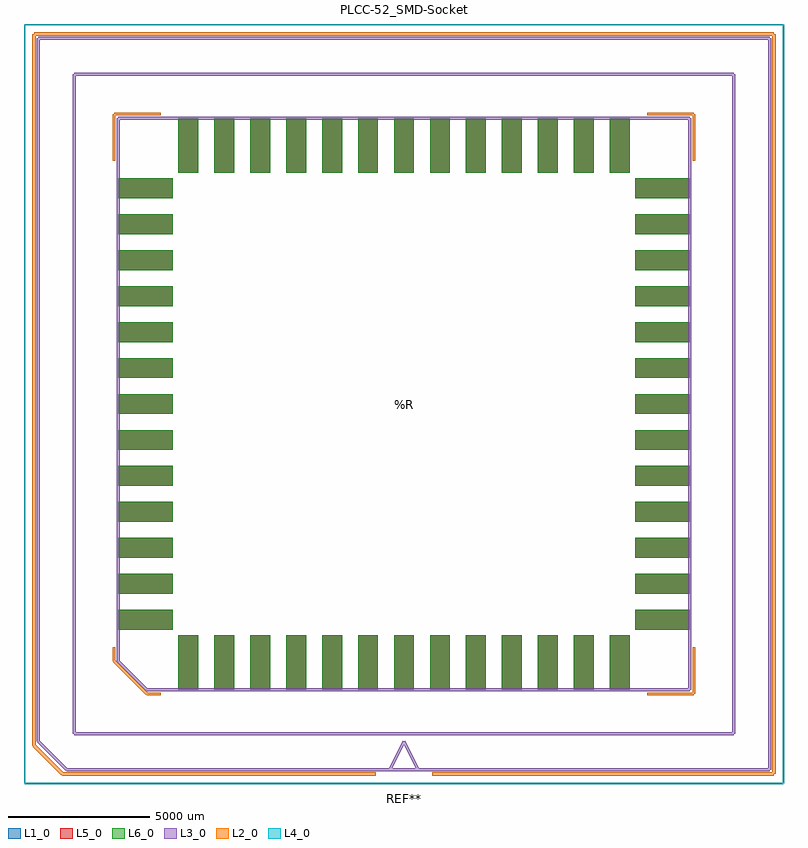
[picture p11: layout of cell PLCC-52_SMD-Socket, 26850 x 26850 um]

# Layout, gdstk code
import gdstk
lib = gdstk.Library(unit=1e-6, precision=1e-09)
def R(c, l, rs):  # rectangles x0, y0, x1, y1
    for r in rs: c.add(gdstk.rectangle(r[:2], r[2:], *l))
def A(c, l, x, y, w, h, nx, ny, dx, dy):  # array of equal rectangles
    R(c, l, [(x+i*dx, y+j*dy, x+i*dx+w, y+j*dy+h) for i in range(nx) for j in range(ny)])
L1_0 = (1, 0)
L2_0 = (2, 0)
L3_0 = (3, 0)
L4_0 = (4, 0)
L5_0 = (5, 0)
L6_0 = (6, 0)

plcc_52_smd_socket = lib.new_cell('PLCC-52_SMD-Socket')
A(plcc_52_smd_socket, L1_0, -7970, -10095, 700, 1925, 13, 2, 1270, 18265)
A(plcc_52_smd_socket, L1_0, -10095, -7970, 1925, 700, 1, 13, 0, 1270)
A(plcc_52_smd_socket, L1_0, 8170, -7970, 1925, 700, 1, 13, 0, 1270)
A(plcc_52_smd_socket, L5_0, -7970, -10095, 700, 1925, 13, 2, 1270, 18265)
A(plcc_52_smd_socket, L5_0, -10095, -7970, 1925, 700, 1, 13, 0, 1270)
A(plcc_52_smd_socket, L5_0, 8170, -7970, 1925, 700, 1, 13, 0, 1270)
A(plcc_52_smd_socket, L6_0, -7970, -10095, 700, 1925, 13, 2, 1270, 18265)
A(plcc_52_smd_socket, L6_0, -10095, -7970, 1925, 700, 1, 13, 0, 1270)
A(plcc_52_smd_socket, L6_0, 8170, -7970, 1925, 700, 1, 13, 0, 1270)
plcc_52_smd_socket.add(gdstk.FlexPath([(-11920,-12920),(-12920,-11920)], 100, ends="flush", simple_path=True, layer=3, datatype=0))  # L3_0
plcc_52_smd_socket.add(gdstk.FlexPath([(-12920,-11920),(-12920,12920)], 100, ends="flush", simple_path=True, layer=3, datatype=0))  # L3_0
plcc_52_smd_socket.add(gdstk.FlexPath([(-12920,12920),(12920,12920)], 100, ends="flush", simple_path=True, layer=3, datatype=0))  # L3_0
plcc_52_smd_socket.add(gdstk.FlexPath([(12920,12920),(12920,-12920)], 100, ends="flush", simple_path=True, layer=3, datatype=0))  # L3_0
plcc_52_smd_socket.add(gdstk.FlexPath([(12920,-12920),(-11920,-12920)], 100, ends="flush", simple_path=True, layer=3, datatype=0))  # L3_0
plcc_52_smd_socket.add(gdstk.FlexPath([(-13400,-13400),(-13400,13400)], 50, ends="flush", simple_path=True, layer=4, datatype=0))  # L4_0
plcc_52_smd_socket.add(gdstk.FlexPath([(-13400,13400),(13400,13400)], 50, ends="flush", simple_path=True, layer=4, datatype=0))  # L4_0
plcc_52_smd_socket.add(gdstk.FlexPath([(13400,13400),(13400,-13400)], 50, ends="flush", simple_path=True, layer=4, datatype=0))  # L4_0
plcc_52_smd_socket.add(gdstk.FlexPath([(13400,-13400),(-13400,-13400)], 50, ends="flush", simple_path=True, layer=4, datatype=0))  # L4_0
plcc_52_smd_socket.add(gdstk.FlexPath([(-9095,-10095),(-10095,-9095)], 100, ends="flush", simple_path=True, layer=3, datatype=0))  # L3_0
plcc_52_smd_socket.add(gdstk.FlexPath([(-10095,-9095),(-10095,10095)], 100, ends="flush", simple_path=True, layer=3, datatype=0))  # L3_0
plcc_52_smd_socket.add(gdstk.FlexPath([(-10095,10095),(10095,10095)], 100, ends="flush", simple_path=True, layer=3, datatype=0))  # L3_0
plcc_52_smd_socket.add(gdstk.FlexPath([(10095,10095),(10095,-10095)], 100, ends="flush", simple_path=True, layer=3, datatype=0))  # L3_0
plcc_52_smd_socket.add(gdstk.FlexPath([(10095,-10095),(-9095,-10095)], 100, ends="flush", simple_path=True, layer=3, datatype=0))  # L3_0
plcc_52_smd_socket.add(gdstk.FlexPath([(-11650,-11650),(-11650,11650)], 100, ends="flush", simple_path=True, layer=3, datatype=0))  # L3_0
plcc_52_smd_socket.add(gdstk.FlexPath([(-11650,11650),(11650,11650)], 100, ends="flush", simple_path=True, layer=3, datatype=0))  # L3_0
plcc_52_smd_socket.add(gdstk.FlexPath([(11650,11650),(11650,-11650)], 100, ends="flush", simple_path=True, layer=3, datatype=0))  # L3_0
plcc_52_smd_socket.add(gdstk.FlexPath([(11650,-11650),(-11650,-11650)], 100, ends="flush", simple_path=True, layer=3, datatype=0))  # L3_0
plcc_52_smd_socket.add(gdstk.FlexPath([(-500,-12920),(0,-11920)], 100, ends="flush", simple_path=True, layer=3, datatype=0))  # L3_0
plcc_52_smd_socket.add(gdstk.FlexPath([(0,-11920),(500,-12920)], 100, ends="flush", simple_path=True, layer=3, datatype=0))  # L3_0
plcc_52_smd_socket.add(gdstk.FlexPath([(-1000,-13070),(-12070,-13070)], 120, ends="flush", simple_path=True, layer=2, datatype=0))  # L2_0
plcc_52_smd_socket.add(gdstk.FlexPath([(-12070,-13070),(-13070,-12070)], 120, ends="flush", simple_path=True, layer=2, datatype=0))  # L2_0
plcc_52_smd_socket.add(gdstk.FlexPath([(-13070,-12070),(-13070,13070)], 120, ends="flush", simple_path=True, layer=2, datatype=0))  # L2_0
plcc_52_smd_socket.add(gdstk.FlexPath([(-13070,13070),(13070,13070)], 120, ends="flush", simple_path=True, layer=2, datatype=0))  # L2_0
plcc_52_smd_socket.add(gdstk.FlexPath([(13070,13070),(13070,-13070)], 120, ends="flush", simple_path=True, layer=2, datatype=0))  # L2_0
plcc_52_smd_socket.add(gdstk.FlexPath([(13070,-13070),(1000,-13070)], 120, ends="flush", simple_path=True, layer=2, datatype=0))  # L2_0
plcc_52_smd_socket.add(gdstk.FlexPath([(-8595,-10245),(-9095,-10245)], 100, ends="flush", simple_path=True, layer=2, datatype=0))  # L2_0
plcc_52_smd_socket.add(gdstk.FlexPath([(-9095,-10245),(-10245,-9095)], 100, ends="flush", simple_path=True, layer=2, datatype=0))  # L2_0
plcc_52_smd_socket.add(gdstk.FlexPath([(-10245,-9095),(-10245,-8595)], 100, ends="flush", simple_path=True, layer=2, datatype=0))  # L2_0
plcc_52_smd_socket.add(gdstk.FlexPath([(8595,-10245),(10245,-10245)], 100, ends="flush", simple_path=True, layer=2, datatype=0))  # L2_0
plcc_52_smd_socket.add(gdstk.FlexPath([(10245,-10245),(10245,-8595)], 100, ends="flush", simple_path=True, layer=2, datatype=0))  # L2_0
plcc_52_smd_socket.add(gdstk.FlexPath([(-8595,10245),(-10245,10245)], 100, ends="flush", simple_path=True, layer=2, datatype=0))  # L2_0
plcc_52_smd_socket.add(gdstk.FlexPath([(-10245,10245),(-10245,8595)], 100, ends="flush", simple_path=True, layer=2, datatype=0))  # L2_0
plcc_52_smd_socket.add(gdstk.FlexPath([(8595,10245),(10245,10245)], 100, ends="flush", simple_path=True, layer=2, datatype=0))  # L2_0
plcc_52_smd_socket.add(gdstk.FlexPath([(10245,10245),(10245,8595)], 100, ends="flush", simple_path=True, layer=2, datatype=0))  # L2_0
plcc_52_smd_socket.add(gdstk.Label('REF**', (0,-13920), layer=2, texttype=0))
plcc_52_smd_socket.add(gdstk.Label('PLCC-52_SMD-Socket', (0,13920), layer=3, texttype=0))
plcc_52_smd_socket.add(gdstk.Label('%R', (0,0), layer=3, texttype=0))

lib.write_gds('PLCC-52_SMD-Socket.gds')
